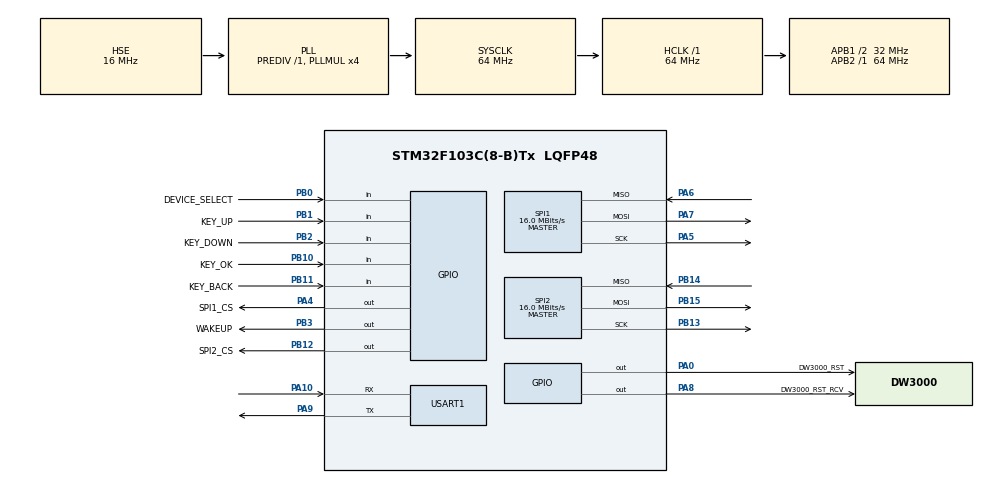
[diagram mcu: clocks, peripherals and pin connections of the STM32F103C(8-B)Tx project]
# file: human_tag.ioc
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Mcu.Family=STM32F1
Mcu.Name=STM32F103C(8-B)Tx
Mcu.Package=LQFP48
NVIC.PriorityGroup=NVIC_PRIORITYGROUP_4
NVIC.TIM4_IRQn=true\:0\:0\:false\:false\:true\:true\:true\:true
NVIC.USART1_IRQn=true\:0\:0\:false\:false\:true\:true\:true\:true
PA0-WKUP.GPIO_Label=DW3000_RST
PA0-WKUP.Signal=GPIO_Output
PA10.Mode=Asynchronous
PA10.Signal=USART1_RX
PA13.Mode=Serial_Wire
PA13.Signal=SYS_JTMS-SWDIO
PA14.Mode=Serial_Wire
PA14.Signal=SYS_JTCK-SWCLK
PA4.GPIO_Label=SPI1_CS
PA4.GPIO_PuPd=GPIO_PULLUP
PA4.GPIO_Speed=GPIO_SPEED_FREQ_HIGH
PA4.PinState=GPIO_PIN_SET
PA4.Signal=GPIO_Output
PA5.Mode=Full_Duplex_Master
PA5.Signal=SPI1_SCK
PA6.Mode=Full_Duplex_Master
PA6.Signal=SPI1_MISO
PA7.Mode=Full_Duplex_Master
PA7.Signal=SPI1_MOSI
PA8.GPIO_Label=DW3000_RST_RCV
PA8.Signal=GPIO_Output
PA9.Mode=Asynchronous
PA9.Signal=USART1_TX
PB0.GPIO_Label=DEVICE_SELECT
PB0.GPIO_PuPd=GPIO_PULLUP
PB0.Signal=GPIO_Input
PB1.GPIO_Label=KEY_UP
PB1.GPIO_PuPd=GPIO_PULLUP
PB1.Signal=GPIO_Input
PB10.GPIO_Label=KEY_OK
PB10.GPIO_PuPd=GPIO_PULLUP
PB10.Signal=GPIO_Input
PB11.GPIO_Label=KEY_BACK
PB11.GPIO_PuPd=GPIO_PULLUP
PB11.Signal=GPIO_Input
PB12.GPIO_Label=SPI2_CS
PB12.GPIO_PuPd=GPIO_PULLUP
PB12.GPIO_Speed=GPIO_SPEED_FREQ_HIGH
PB12.PinState=GPIO_PIN_SET
PB12.Signal=GPIO_Output
PB13.Mode=Full_Duplex_Master
PB13.Signal=SPI2_SCK
PB14.Mode=Full_Duplex_Master
PB14.Signal=SPI2_MISO
PB15.Mode=Full_Duplex_Master
PB15.Signal=SPI2_MOSI
PB2.GPIO_Label=KEY_DOWN
PB2.GPIO_PuPd=GPIO_PULLUP
PB2.Signal=GPIO_Input
PB3.GPIO_Label=WAKEUP
PB3.Signal=GPIO_Output
PD0-OSC_IN.Mode=HSE-External-Oscillator
PD0-OSC_IN.Signal=RCC_OSC_IN
PD1-OSC_OUT.Mode=HSE-External-Oscillator
PD1-OSC_OUT.Signal=RCC_OSC_OUT
ProjectManager.HeapSize=0x200
ProjectManager.StackSize=0x400
ProjectManager.TargetToolchain=STM32CubeIDE
RCC.AHBFreq_Value=64000000
RCC.APB1CLKDivider=RCC_HCLK_DIV2
RCC.APB1Freq_Value=32000000
RCC.APB1TimFreq_Value=64000000
RCC.APB2Freq_Value=64000000
RCC.APB2TimFreq_Value=64000000
RCC.HCLKFreq_Value=64000000
RCC.HSE_VALUE=16000000
RCC.PLLMUL=RCC_PLL_MUL4
RCC.PLLSourceVirtual=RCC_PLLSOURCE_HSE
RCC.SYSCLKFreq_VALUE=64000000
RCC.SYSCLKSource=RCC_SYSCLKSOURCE_PLLCLK
RCC.USBFreq_Value=64000000
SPI1.BaudRatePrescaler=SPI_BAUDRATEPRESCALER_4
SPI1.CalculateBaudRate=16.0 MBits/s
SPI1.Direction=SPI_DIRECTION_2LINES
SPI1.Mode=SPI_MODE_MASTER
SPI1.VirtualType=VM_MASTER
SPI2.BaudRatePrescaler=SPI_BAUDRATEPRESCALER_2
SPI2.CalculateBaudRate=16.0 MBits/s
SPI2.Direction=SPI_DIRECTION_2LINES
SPI2.Mode=SPI_MODE_MASTER
SPI2.VirtualType=VM_MASTER
TIM4.AutoReloadPreload=TIM_AUTORELOAD_PRELOAD_DISABLE
TIM4.Period=65536-1
TIM4.Prescaler=7200-1
USART1.VirtualMode=VM_ASYNC
VP_TIM4_VS_ClockSourceINT.Mode=Internal
board=custom

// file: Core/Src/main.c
/* USER CODE BEGIN Header */
/**
 ******************************************************************************
 * @file           : main.c
 * @brief          : Main program body
 ******************************************************************************
 * @attention
 *
 * Copyright (c) 2024 STMicroelectronics.
 * All rights reserved.
 *
 * This software is licensed under terms that can be found in the LICENSE file
 * in the root directory of this software component.
 * If no LICENSE file comes with this software, it is provided AS-IS.
 *
 ******************************************************************************
 */
/* USER CODE END Header */
#include "main.h"

/* USER CODE BEGIN Includes */
#include "human_tag.h"
/* USER CODE END Includes */

/* USER CODE BEGIN PTD */

TAG_t *tag;
int size = 0;
uint8_t running_device = DEV_UWB3000F00;
SPI_HW_t hw;
dwt_local_data_t *pdw3000local;
uint8_t crcTable[256];
char recvChar;
TAG_STATUS_t tag_status;

/* USER CODE END PTD */

SPI_HandleTypeDef hspi1;
SPI_HandleTypeDef hspi2;

TIM_HandleTypeDef htim4;

UART_HandleTypeDef huart1;

void SystemClock_Config(void);
static void MX_GPIO_Init(void);
static void MX_SPI1_Init(void);
static void MX_SPI2_Init(void);
static void MX_TIM4_Init(void);
static void MX_USART1_UART_Init(void);

/* USER CODE BEGIN 0 */
// Callback: timer has rolled over
void HAL_TIM_PeriodElapsedCallback(TIM_HandleTypeDef *htim)
{
  // Check which version of the timer triggered this callback and toggle LED
  if (htim == &htim4 )
  {
	  tag_status = TAG_SLEEP;

  }
}
/* USER CODE END 0 */

int main(void)
{

  /* USER CODE BEGIN 1 */
	HAL_DeInit();
	HAL_RCC_DeInit();

  /* USER CODE END 1 */

  /* MCU Configuration--------------------------------------------------------*/

  /* Reset of all peripherals, Initializes the Flash interface and the Systick. */
  HAL_Init();

  /* Configure the system clock */
  SystemClock_Config();

  /* Initialize all configured peripherals */
  MX_GPIO_Init();
  MX_SPI1_Init();
  MX_SPI2_Init();
  MX_TIM4_Init();
  MX_USART1_UART_Init();
  /* USER CODE BEGIN 2 */

	HAL_GPIO_WritePin(GPIOA, DW3000_RST_Pin, GPIO_PIN_SET);
	/*Local device data, can be an array to support multiple DW3000 testing applications/platforms */

	dwt_local_data_t dwt_local_data;
	pdw3000local = &dwt_local_data;
	/* Default communication configuration. We use default non-STS DW mode. */
	dwt_config_t defatult_dwt_config = { 5, /* Channel number. */
	DWT_PLEN_128, /* Preamble length. Used in TX only. */
	DWT_PAC8, /* Preamble acquisition chunk size. Used in RX only. */
	9, /* TX preamble code. Used in TX only. */
	9, /* RX preamble code. Used in RX only. */
	1, /* 0 to use standard 8 symbol SFD, 1 to use non-standard 8 symbol, 2 for non-standard 16 symbol SFD and 3 for 4z 8 symbol SDF type */
	DWT_BR_6M8, /* Data rate. */
	DWT_PHRMODE_STD, /* PHY header mode. */
	DWT_PHRRATE_STD, /* PHY header rate. */
	(129 + 8 - 8), /* SFD timeout (preamble length + 1 + SFD length - PAC size). Used in RX only. */
	DWT_STS_MODE_OFF, /* STS disabled */
	DWT_STS_LEN_64,/* STS length see allowed values in Enum dwt_sts_lengths_e */
	DWT_PDOA_M0 /* PDOA mode off */
	};

	/* Values for the PG_DELAY and TX_POWER registers reflect the bandwidth and power of the spectrum at the current
	 * temperature. These values can be calibrated prior to taking reference measurements. See NOTE 8 below. */
	static dwt_txconfig_t defatult_dwt_txconfig = { 0x34, /* PG delay. */
	0xfdfdfdfd, /* TX power. */
	0x0 /*PG count*/
	};

	hw.spi = &hspi2;
	hw.nrstPin = DW3000_RST_RCV_Pin;
	hw.nrstPort = DW3000_RST_RCV_GPIO_Port;
	hw.nssPin = SPI2_CS_Pin;
	hw.nssPort = SPI2_CS_GPIO_Port;

	HAL_UART_Transmit(&huart1, (uint8_t*) "\n\rDEV_UWB3000F00 init\n\r",
			(uint16_t) strlen("\n\rDEV_UWB3000F00 init\n\r"),
			HAL_MAX_DELAY);

	HAL_GPIO_WritePin(hw.nrstPort, hw.nrstPin, GPIO_PIN_RESET);/* Target specific drive of RSTn line into DW IC low for a period. */
	HAL_Delay(1);
	HAL_GPIO_WritePin(hw.nrstPort, hw.nrstPin, GPIO_PIN_SET);
	if (tag_init(&defatult_dwt_config, &defatult_dwt_txconfig, &dwt_local_data,
			running_device, RATE_6M8) == 1)
		Error_Handler();

	/* Frames used in the ranging process. See NOTE 2 below. */

	/* Hold copy of status register state here for reference so that it can be examined at a debug breakpoint. */
	tag = malloc(sizeof(TAG_t));
	if (tag == NULL)
		Error_Handler();

	tag->readings = 0;
	tag->id = 0;
	tag->resp_tx_time = 0;
	tag->resp_tx_timestamp = 0;
	tag->poll_rx_timestamp = 0;

	tag_status = TAG_WAIT_FOR_FIRST_DETECTION;
	tag->id = _dwt_otpread(PARTID_ADDRESS);
	tag->calibrateds_temperature = _dwt_otpread(VTEMP_ADDRESS);
	tag->calibrated_battery_voltage = _dwt_otpread(VBAT_ADDRESS);
	uint16_t read_temp_vbat = dwt_readtempvbat();
	tag->raw_temperature = (uint8_t) (read_temp_vbat >> 8);
	tag->raw_battery_voltage = (uint8_t) (read_temp_vbat);
	dwt_configuresleep(DWT_RUNSAR, DWT_WAKE_WUP);
	dwt_configuresleepcnt(4095);
	//dwt_setsniffmode(1, 2, 200);

	uint32_t query_timeout = 10000;
	uint32_t query_ticks;
	HAL_TIM_Base_Start_IT(&htim4);
	/* Time-stamps of frames transmission/reception, expressed in device time units. */
  /* USER CODE END 2 */

  /* Infinite loop */
  /* USER CODE BEGIN WHILE */
	while (1) {
		if (tag_status == TAG_WAIT_FOR_FIRST_DETECTION) {
			debug(tag, tag_status);

			tag_status = process_first_tag_information(tag);
			debug(tag, tag_status);
			if (tag_status != TAG_WAIT_FOR_TIMESTAMPT_QUERY){
				tag_status = TAG_WAIT_FOR_FIRST_DETECTION;
				HAL_GPIO_WritePin(hw.nrstPort, hw.nrstPin, GPIO_PIN_RESET);/* Target specific drive of RSTn line into DW IC low for a period. */
				HAL_Delay(1);
				HAL_GPIO_WritePin(hw.nrstPort, hw.nrstPin, GPIO_PIN_SET);
				if (tag_init(&defatult_dwt_config, &defatult_dwt_txconfig,
						&dwt_local_data, running_device, RATE_6M8) == 1)
					Error_Handler();
			}
			else if (tag_status == TAG_WAIT_FOR_TIMESTAMPT_QUERY)
				query_ticks = HAL_GetTick();

		} else if (tag_status == TAG_WAIT_FOR_TIMESTAMPT_QUERY) {
			tag_status = process_queried_tag_information(tag);

			if (tag_status == TAG_TX_SUCCESS) {
				if (tag->command == TAG_TIMESTAMP_QUERY)
					tag_status = TAG_WAIT_FOR_TIMESTAMPT_QUERY;
				else if (tag->command == TAG_SET_SLEEP_MODE)
					tag_status = TAG_SLEEP;
			} else if (tag_status == TAG_RX_COMMAND_ERROR){
				HAL_GPIO_WritePin(hw.nrstPort, hw.nrstPin, GPIO_PIN_RESET);/* Target specific drive of RSTn line into DW IC low for a period. */
				HAL_Delay(1);
				HAL_GPIO_WritePin(hw.nrstPort, hw.nrstPin, GPIO_PIN_SET);
				if (tag_init(&defatult_dwt_config, &defatult_dwt_txconfig,
						&dwt_local_data, running_device, RATE_6M8) == 1)
					Error_Handler();
				tag_status = TAG_DISCOVERY;
			}

			else
				tag_status = TAG_WAIT_FOR_TIMESTAMPT_QUERY;

			debug(tag, tag_status);

			if (HAL_GetTick() - query_ticks > query_timeout) {
				tag_status = TAG_SLEEP;
			}

		} else if (tag_status == TAG_SLEEP) {

			tag->readings++;
			debug(tag, tag_status);
			tag->readings = 0;
			HAL_GPIO_WritePin(hw.nrstPort, hw.nrstPin, GPIO_PIN_RESET);/* Target specific drive of RSTn line into DW IC low for a period. */
			HAL_Delay(3000);
			HAL_GPIO_WritePin(hw.nrstPort, hw.nrstPin, GPIO_PIN_SET);
			if (tag_init(&defatult_dwt_config, &defatult_dwt_txconfig,
					&dwt_local_data, running_device, RATE_6M8) == 1)
				Error_Handler();
			//dwt_setsniffmode(1, 2, 200);
			tag_status = TAG_WAIT_FOR_FIRST_DETECTION;
		}
		//HAL_Delay(1000);
    /* USER CODE END WHILE */

	}
}

void SystemClock_Config(void)
{
  RCC_OscInitTypeDef RCC_OscInitStruct = {0};
  RCC_ClkInitTypeDef RCC_ClkInitStruct = {0};

  /** Initializes the RCC Oscillators according to the specified parameters
  * in the RCC_OscInitTypeDef structure.
  */
  RCC_OscInitStruct.OscillatorType = RCC_OSCILLATORTYPE_HSE;
  RCC_OscInitStruct.HSEState = RCC_HSE_ON;
  RCC_OscInitStruct.HSEPredivValue = RCC_HSE_PREDIV_DIV1;
  RCC_OscInitStruct.HSIState = RCC_HSI_ON;
  RCC_OscInitStruct.PLL.PLLState = RCC_PLL_ON;
  RCC_OscInitStruct.PLL.PLLSource = RCC_PLLSOURCE_HSE;
  RCC_OscInitStruct.PLL.PLLMUL = RCC_PLL_MUL4;
  if (HAL_RCC_OscConfig(&RCC_OscInitStruct) != HAL_OK)
  {
    Error_Handler();
  }

  /** Initializes the CPU, AHB and APB buses clocks
  */
  RCC_ClkInitStruct.ClockType = RCC_CLOCKTYPE_HCLK|RCC_CLOCKTYPE_SYSCLK
                              |RCC_CLOCKTYPE_PCLK1|RCC_CLOCKTYPE_PCLK2;
  RCC_ClkInitStruct.SYSCLKSource = RCC_SYSCLKSOURCE_PLLCLK;
  RCC_ClkInitStruct.AHBCLKDivider = RCC_SYSCLK_DIV1;
  RCC_ClkInitStruct.APB1CLKDivider = RCC_HCLK_DIV2;
  RCC_ClkInitStruct.APB2CLKDivider = RCC_HCLK_DIV1;

  if (HAL_RCC_ClockConfig(&RCC_ClkInitStruct, FLASH_LATENCY_2) != HAL_OK)
  {
    Error_Handler();
  }
}

static void MX_SPI1_Init(void)
{

  /* SPI1 parameter configuration*/
  hspi1.Instance = SPI1;
  hspi1.Init.Mode = SPI_MODE_MASTER;
  hspi1.Init.Direction = SPI_DIRECTION_2LINES;
  hspi1.Init.DataSize = SPI_DATASIZE_8BIT;
  hspi1.Init.CLKPolarity = SPI_POLARITY_LOW;
  hspi1.Init.CLKPhase = SPI_PHASE_1EDGE;
  hspi1.Init.NSS = SPI_NSS_SOFT;
  hspi1.Init.BaudRatePrescaler = SPI_BAUDRATEPRESCALER_4;
  hspi1.Init.FirstBit = SPI_FIRSTBIT_MSB;
  hspi1.Init.TIMode = SPI_TIMODE_DISABLE;
  hspi1.Init.CRCCalculation = SPI_CRCCALCULATION_DISABLE;
  hspi1.Init.CRCPolynomial = 10;
  if (HAL_SPI_Init(&hspi1) != HAL_OK)
  {
    Error_Handler();
  }

}

static void MX_SPI2_Init(void)
{

  /* SPI2 parameter configuration*/
  hspi2.Instance = SPI2;
  hspi2.Init.Mode = SPI_MODE_MASTER;
  hspi2.Init.Direction = SPI_DIRECTION_2LINES;
  hspi2.Init.DataSize = SPI_DATASIZE_8BIT;
  hspi2.Init.CLKPolarity = SPI_POLARITY_LOW;
  hspi2.Init.CLKPhase = SPI_PHASE_1EDGE;
  hspi2.Init.NSS = SPI_NSS_SOFT;
  hspi2.Init.BaudRatePrescaler = SPI_BAUDRATEPRESCALER_2;
  hspi2.Init.FirstBit = SPI_FIRSTBIT_MSB;
  hspi2.Init.TIMode = SPI_TIMODE_DISABLE;
  hspi2.Init.CRCCalculation = SPI_CRCCALCULATION_DISABLE;
  hspi2.Init.CRCPolynomial = 10;
  if (HAL_SPI_Init(&hspi2) != HAL_OK)
  {
    Error_Handler();
  }

}

static void MX_TIM4_Init(void)
{

  TIM_ClockConfigTypeDef sClockSourceConfig = {0};
  TIM_MasterConfigTypeDef sMasterConfig = {0};

  htim4.Instance = TIM4;
  htim4.Init.Prescaler = 7200-1;
  htim4.Init.CounterMode = TIM_COUNTERMODE_UP;
  htim4.Init.Period = 65536-1;
  htim4.Init.ClockDivision = TIM_CLOCKDIVISION_DIV1;
  htim4.Init.AutoReloadPreload = TIM_AUTORELOAD_PRELOAD_DISABLE;
  if (HAL_TIM_Base_Init(&htim4) != HAL_OK)
  {
    Error_Handler();
  }
  sClockSourceConfig.ClockSource = TIM_CLOCKSOURCE_INTERNAL;
  if (HAL_TIM_ConfigClockSource(&htim4, &sClockSourceConfig) != HAL_OK)
  {
    Error_Handler();
  }
  sMasterConfig.MasterOutputTrigger = TIM_TRGO_RESET;
  sMasterConfig.MasterSlaveMode = TIM_MASTERSLAVEMODE_DISABLE;
  if (HAL_TIMEx_MasterConfigSynchronization(&htim4, &sMasterConfig) != HAL_OK)
  {
    Error_Handler();
  }
  /* USER CODE BEGIN TIM4_Init 2 */
	HAL_TIM_Base_Start_IT(&htim4);
  /* USER CODE END TIM4_Init 2 */

}

static void MX_USART1_UART_Init(void)
{

  huart1.Instance = USART1;
  huart1.Init.BaudRate = 115200;
  huart1.Init.WordLength = UART_WORDLENGTH_8B;
  huart1.Init.StopBits = UART_STOPBITS_1;
  huart1.Init.Parity = UART_PARITY_NONE;
  huart1.Init.Mode = UART_MODE_TX_RX;
  huart1.Init.HwFlowCtl = UART_HWCONTROL_NONE;
  huart1.Init.OverSampling = UART_OVERSAMPLING_16;
  if (HAL_UART_Init(&huart1) != HAL_OK)
  {
    Error_Handler();
  }
  /* USER CODE BEGIN USART1_Init 2 */

	HAL_UART_Receive_IT(&huart1, &recvChar, 1);

  /* USER CODE END USART1_Init 2 */

}

static void MX_GPIO_Init(void)
{
  GPIO_InitTypeDef GPIO_InitStruct = {0};

  /* GPIO Ports Clock Enable */
  __HAL_RCC_GPIOD_CLK_ENABLE();
  __HAL_RCC_GPIOA_CLK_ENABLE();
  __HAL_RCC_GPIOB_CLK_ENABLE();

  /*Configure GPIO pin Output Level */
  HAL_GPIO_WritePin(GPIOA, DW3000_RST_Pin|DW3000_RST_RCV_Pin, GPIO_PIN_RESET);

  /*Configure GPIO pin Output Level */
  HAL_GPIO_WritePin(SPI1_CS_GPIO_Port, SPI1_CS_Pin, GPIO_PIN_SET);

  /*Configure GPIO pin Output Level */
  HAL_GPIO_WritePin(SPI2_CS_GPIO_Port, SPI2_CS_Pin, GPIO_PIN_SET);

  /*Configure GPIO pin Output Level */
  HAL_GPIO_WritePin(WAKEUP_GPIO_Port, WAKEUP_Pin, GPIO_PIN_RESET);

  /*Configure GPIO pins : DW3000_RST_Pin DW3000_RST_RCV_Pin */
  GPIO_InitStruct.Pin = DW3000_RST_Pin|DW3000_RST_RCV_Pin;
  GPIO_InitStruct.Mode = GPIO_MODE_OUTPUT_PP;
  GPIO_InitStruct.Pull = GPIO_NOPULL;
  GPIO_InitStruct.Speed = GPIO_SPEED_FREQ_LOW;
  HAL_GPIO_Init(GPIOA, &GPIO_InitStruct);

  /*Configure GPIO pin : SPI1_CS_Pin */
  GPIO_InitStruct.Pin = SPI1_CS_Pin;
  GPIO_InitStruct.Mode = GPIO_MODE_OUTPUT_PP;
  GPIO_InitStruct.Pull = GPIO_PULLUP;
  GPIO_InitStruct.Speed = GPIO_SPEED_FREQ_HIGH;
  HAL_GPIO_Init(SPI1_CS_GPIO_Port, &GPIO_InitStruct);

  /*Configure GPIO pins : DEVICE_SELECT_Pin KEY_UP_Pin KEY_DOWN_Pin KEY_OK_Pin
                           KEY_BACK_Pin */
  GPIO_InitStruct.Pin = DEVICE_SELECT_Pin|KEY_UP_Pin|KEY_DOWN_Pin|KEY_OK_Pin
                          |KEY_BACK_Pin;
  GPIO_InitStruct.Mode = GPIO_MODE_INPUT;
  GPIO_InitStruct.Pull = GPIO_PULLUP;
  HAL_GPIO_Init(GPIOB, &GPIO_InitStruct);

  /*Configure GPIO pin : SPI2_CS_Pin */
  GPIO_InitStruct.Pin = SPI2_CS_Pin;
  GPIO_InitStruct.Mode = GPIO_MODE_OUTPUT_PP;
  GPIO_InitStruct.Pull = GPIO_PULLUP;
  GPIO_InitStruct.Speed = GPIO_SPEED_FREQ_HIGH;
  HAL_GPIO_Init(SPI2_CS_GPIO_Port, &GPIO_InitStruct);

  /*Configure GPIO pin : WAKEUP_Pin */
  GPIO_InitStruct.Pin = WAKEUP_Pin;
  GPIO_InitStruct.Mode = GPIO_MODE_OUTPUT_PP;
  GPIO_InitStruct.Pull = GPIO_NOPULL;
  GPIO_InitStruct.Speed = GPIO_SPEED_FREQ_LOW;
  HAL_GPIO_Init(WAKEUP_GPIO_Port, &GPIO_InitStruct);

}

void Error_Handler(void)
{
	__disable_irq();
	while (1) {
	}
}
